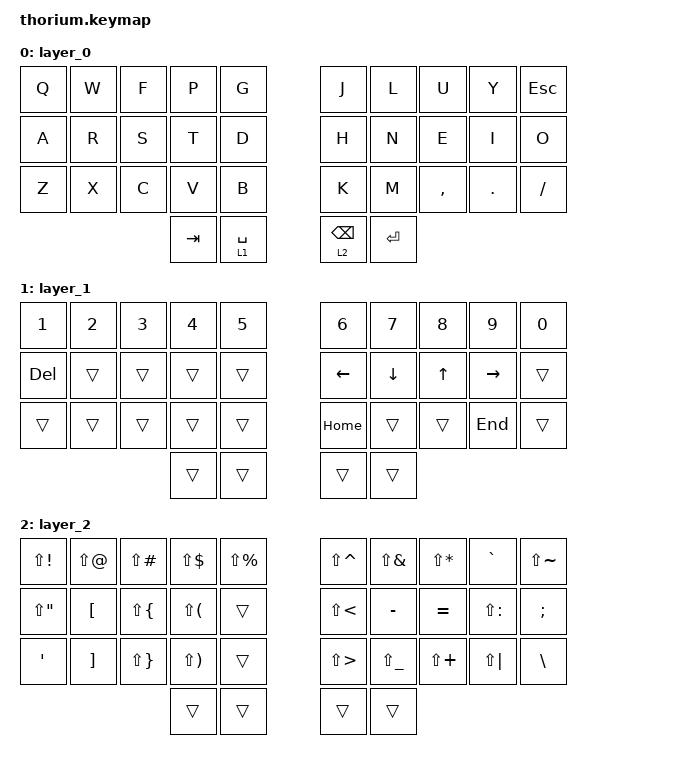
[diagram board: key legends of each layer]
/*
 * Copyright (c) 2020 The ZMK Contributors
 *
 * SPDX-License-Identifier: MIT
 */

#undef ZMK_BEHAVIORS_KEEP_ALL

#include <behaviors.dtsi>
#include <dt-bindings/zmk/keys.h>
#include <dt-bindings/zmk/bt.h>

#define NAV_L 1
#define OTHER_L 2
#define NUM_L 3
#define SYM_L 4

// Using layer taps on thumbs, having quick tap as well helps w/ repeating space/backspace
&lt { quick-tap-ms = <200>; };

/ {
    behaviors {
        hm: homerow_mods {
            compatible = "zmk,behavior-hold-tap";
            #binding-cells = <2>;
            tapping-term-ms = <200>;
            flavor = "tap-preferred";
            bindings = <&kp>, <&kp>;
        };
    };

    keymap {
        compatible = "zmk,keymap";

        layer_0 {
            bindings = <
&kp Q    &kp W        &kp F  &kp P  &kp G    &kp J  &kp L  &kp U      &kp Y            &kp ESC
&kp A    &kp R        &kp S  &kp T  &kp D    &kp H  &kp N  &kp E      &kp I            &kp O
&kp Z    &kp X        &kp C  &kp V  &kp B    &kp K  &kp M  &kp COMMA  &kp DOT          &kp FSLH
&kp TAB  &lt 1 SPACE                                                  &lt 2 BACKSPACE  &kp RET
            >;
        };

        layer_1 {
            bindings = <
&kp N1   &kp N2  &kp N3  &kp N4  &kp N5    &kp N6    &kp N7    &kp N8  &kp N9     &kp N0
&kp DEL  &trans  &trans  &trans  &trans    &kp LEFT  &kp DOWN  &kp UP  &kp RIGHT  &trans
&trans   &trans  &trans  &trans  &trans    &kp HOME  &trans    &trans  &kp END    &trans
&trans   &trans                                                        &trans     &trans
            >;
        };

        layer_2 {
            bindings = <
&kp LS(EXCL)  &kp LS(AT)  &kp LS(POUND)  &kp LS(DLLR)  &kp LS(PRCNT)    &kp LS(CARET)  &kp LS(AMPS)   &kp LS(STAR)  &kp GRAVE      &kp LS(TILDE)
&kp LS(DQT)   &kp LBKT    &kp LS(LBRC)   &kp LS(LPAR)  &trans           &kp LS(LT)     &kp MINUS      &kp EQUAL     &kp LS(COLON)  &kp SEMI
&kp SQT       &kp RBKT    &kp LS(RBRC)   &kp LS(RPAR)  &trans           &kp LS(GT)     &kp LS(UNDER)  &kp LS(PLUS)  &kp LS(PIPE)   &kp BSLH
&trans        &trans                                                                                                &trans         &trans
            >;
        };
    };
};
